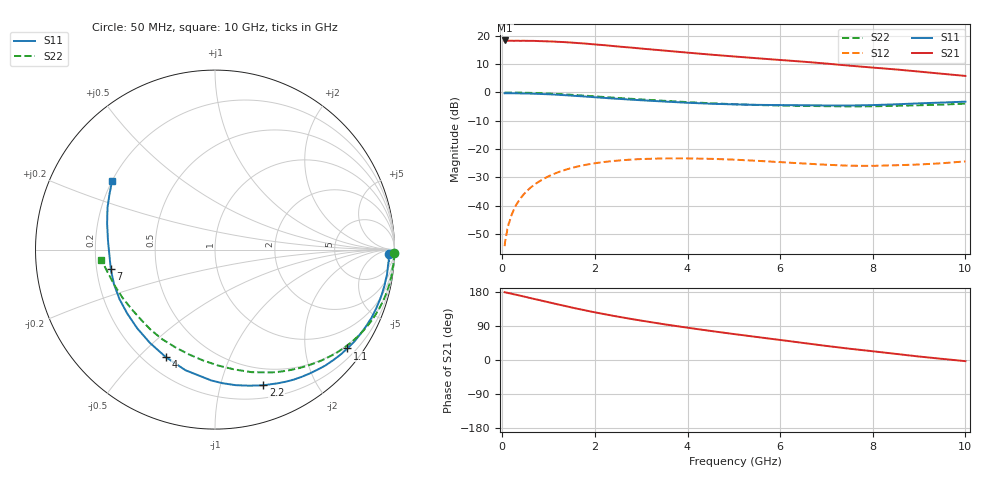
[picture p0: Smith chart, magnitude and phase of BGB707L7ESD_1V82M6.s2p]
!  Infineon Technologies AG
!  BGB707L7ESD RU919007 w#7 Sample Build #08493 Teil Nr. 3
!  Vce = 1.8V, Ic = 2.6mA
!  DATUM: 30.06.2009 10:15:13
# GHz  S  MA  R  50
!f  S11  S21  S12  S22
!GHz  Mag  Ang  Mag  Ang  Mag  Ang  Mag  Ang
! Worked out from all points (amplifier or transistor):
!   52 points, 50 MHz to 10 GHz, reference 50 ohm
!   highest |S21| = 18.4 dB at 60 MHz (marker M1)
!   |S21| within 3 dB of that: start of sweep to 3.098 GHz
!   unconditionally stable (mu >= 1): 6.905 GHz to end of sweep
!   at 130 MHz: K = -0.01, MSG = 32.6 dB, |S12| = -47.0 dB
!   at 1.4 GHz: K = 0.08, MSG = 22.4 dB, |S12| = -27.1 dB
!   at 10 GHz: K = 1.14, MAG = 12.8 dB, |S12| = -24.3 dB
!   lowest NFmin = 0.40 dB at 100 MHz
!   S11 on the Smith chart (normalised r, x): 50 MHz: 38, -29; 1.1 GHz: 0.41, -2.96; 2.2 GHz: 0.32, -1.37; 4 GHz: 0.29, -0.60; 7 GHz: 0.26, -0.09; 10 GHz: 0.20, +0.29
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0.05  0.9676 -1.4  8.139 178.9  0.001932 85.7  0.9989 -1.1
0.06  0.9729 -2.1  8.298 178.6  0.00229 83.6  0.9988 -1.4
0.08  0.9681 -2.4  8.157 177.9  0.002684 89.1  0.9989 -1.9
0.09  0.9695 -3.1  8.221 178.2  0.003152 90.1  0.999 -2.2
0.1  0.9691 -3.5  8.186 177.3  0.003392 86.4  0.9985 -2.4
0.2  0.9681 -6.8  8.217 175.0  0.006882 85.8  0.9972 -4.9
0.4  0.9638 -13.4  8.167 169.5  0.01375 81.1  0.9925 -9.8
0.7  0.9511 -23.6  8.146 160.8  0.02381 74.3  0.9791 -17.1
1.1  0.9206 -36.7  7.937 149.6  0.03609 64.8  0.9495 -26.7
1.5  0.8798 -49.5  7.6 138.5  0.04646 56.0  0.9097 -35.9
1.8  0.8471 -58.7  7.298 130.8  0.05281 50.0  0.877 -42.4
2.2  0.8026 -70.4  6.851 121.1  0.05931 42.6  0.8322 -50.5
2.8  0.746 -86.6  6.189 108.0  0.06551 33.1  0.7725 -61.6
3.5  0.6921 -103.7  5.496 94.2  0.06855 24.1  0.7132 -73.3
4  0.6587 -114.6  5.058 85.2  0.06856 19.0  0.6765 -80.8
4.5  0.6339 -124.9  4.665 76.7  0.06738 14.9  0.646 -88.4
5.5  0.6049 -143.9  4.025 60.7  0.06217 9.7  0.6013 -104.1
6.5  0.5951 -161.0  3.501 45.0  0.05582 9.5  0.5797 -120.2
7  0.5908 -169.3  3.241 37.1  0.05296 11.4  0.5731 -128.5
8.5  0.6185 166.4  2.553 16.1  0.05187 23.4  0.5812 -152.7
9  0.6428 158.7  2.341 9.1  0.05348 27.1  0.5948 -160.8
10  0.689 146.3  1.963 -3.1  0.06083 33.2  0.6355 -174.6
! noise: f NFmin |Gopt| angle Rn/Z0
0.1  0.4  0.63  2  0.21
0.45  0.47  0.63  4  0.21
0.9  0.57  0.65  13  0.2
1.8  0.64  0.51  35  0.2
5  1.07  0.41  77  0.19
10  1.82  0.45  -140  0.13
